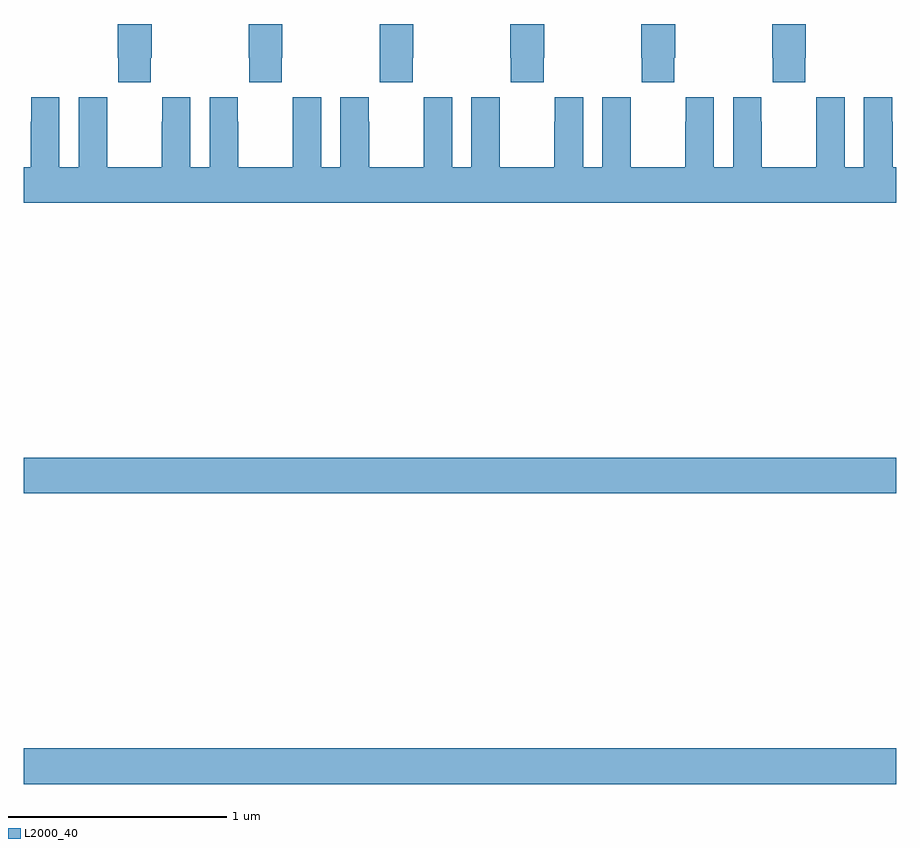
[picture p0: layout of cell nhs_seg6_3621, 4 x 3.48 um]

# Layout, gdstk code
import gdstk
lib = gdstk.Library(unit=1e-6, precision=1e-09)
def R(c, l, rs):  # rectangles x0, y0, x1, y1
    for r in rs: c.add(gdstk.rectangle(r[:2], r[2:], *l))
def P(c, l, *ps):  # polygons
    for p in ps: c.add(gdstk.Polygon(p, *l))
L2000_40 = (2000, 40)

nhs_seg6_3621 = lib.new_cell('nhs_seg6_3621')
R(nhs_seg6_3621, L2000_40, [(323,934.016,327,934.18), (323,935.348,327,935.512)])
P(nhs_seg6_3621, L2000_40, [(326.583,937.345),(326.586,937.345),(326.586,937.5),(326.431,937.5),(326.431,937.345),(326.433,937.345),(326.433,937.233),(326.583,937.233)],
  [(325.983,937.345),(325.986,937.345),(325.986,937.5),(325.831,937.5),(325.831,937.345),(325.833,937.345),(325.833,937.233),(325.983,937.233)],
  [(325.383,937.345),(325.386,937.345),(325.386,937.5),(325.231,937.5),(325.231,937.345),(325.233,937.345),(325.233,937.233),(325.383,937.233)],
  [(324.783,937.345),(324.786,937.345),(324.786,937.5),(324.631,937.5),(324.631,937.345),(324.633,937.345),(324.633,937.233),(324.783,937.233)],
  [(324.183,937.345),(324.186,937.345),(324.186,937.5),(324.031,937.5),(324.031,937.345),(324.033,937.345),(324.033,937.233),(324.183,937.233)],
  [(323.583,937.345),(323.586,937.345),(323.586,937.5),(323.431,937.5),(323.431,937.345),(323.433,937.345),(323.433,937.233),(323.583,937.233)],
  [(324.834,937.165),(324.834,937.052),(324.833,937.052),(324.833,936.844),(324.583,936.844),(324.583,937.052),(324.582,937.052),(324.582,937.165),(324.452,937.165),(324.452,936.844),(324.364,936.844),(324.364,937.165),(324.234,937.165),(324.234,937.052),(324.233,937.052),(324.233,936.844),(323.983,936.844),(323.983,937.052),(323.982,937.052),(323.982,937.165),(323.852,937.165),(323.852,936.844),(323.764,936.844),(323.764,937.165),(323.634,937.165),(323.634,937.052),(323.633,937.052),(323.633,936.844),(323.383,936.844),(323.383,937.052),(323.382,937.052),(323.382,937.165),(323.252,937.165),(323.252,936.844),(323.164,936.844),(323.164,937.165),(323.034,937.165),(323.034,937.052),(323.033,937.052),(323.033,936.844),(323,936.844),(323,936.68),(327,936.68),(327,936.844),(326.983,936.844),(326.983,937.052),(326.982,937.052),(326.982,937.165),(326.852,937.165),(326.852,936.844),(326.764,936.844),(326.764,937.165),(326.634,937.165),(326.634,937.052),(326.633,937.052),(326.633,936.844),(326.383,936.844),(326.383,937.052),(326.382,937.052),(326.382,937.165),(326.252,937.165),(326.252,936.844),(326.164,936.844),(326.164,937.165),(326.034,937.165),(326.034,937.052),(326.033,937.052),(326.033,936.844),(325.783,936.844),(325.783,937.052),(325.782,937.052),(325.782,937.165),(325.652,937.165),(325.652,936.844),(325.564,936.844),(325.564,937.165),(325.434,937.165),(325.434,937.052),(325.433,937.052),(325.433,936.844),(325.183,936.844),(325.183,937.052),(325.182,937.052),(325.182,937.165),(325.052,937.165),(325.052,936.844),(324.964,936.844),(324.964,937.165)])

lib.write_gds('nhs_seg6_3621.gds')
